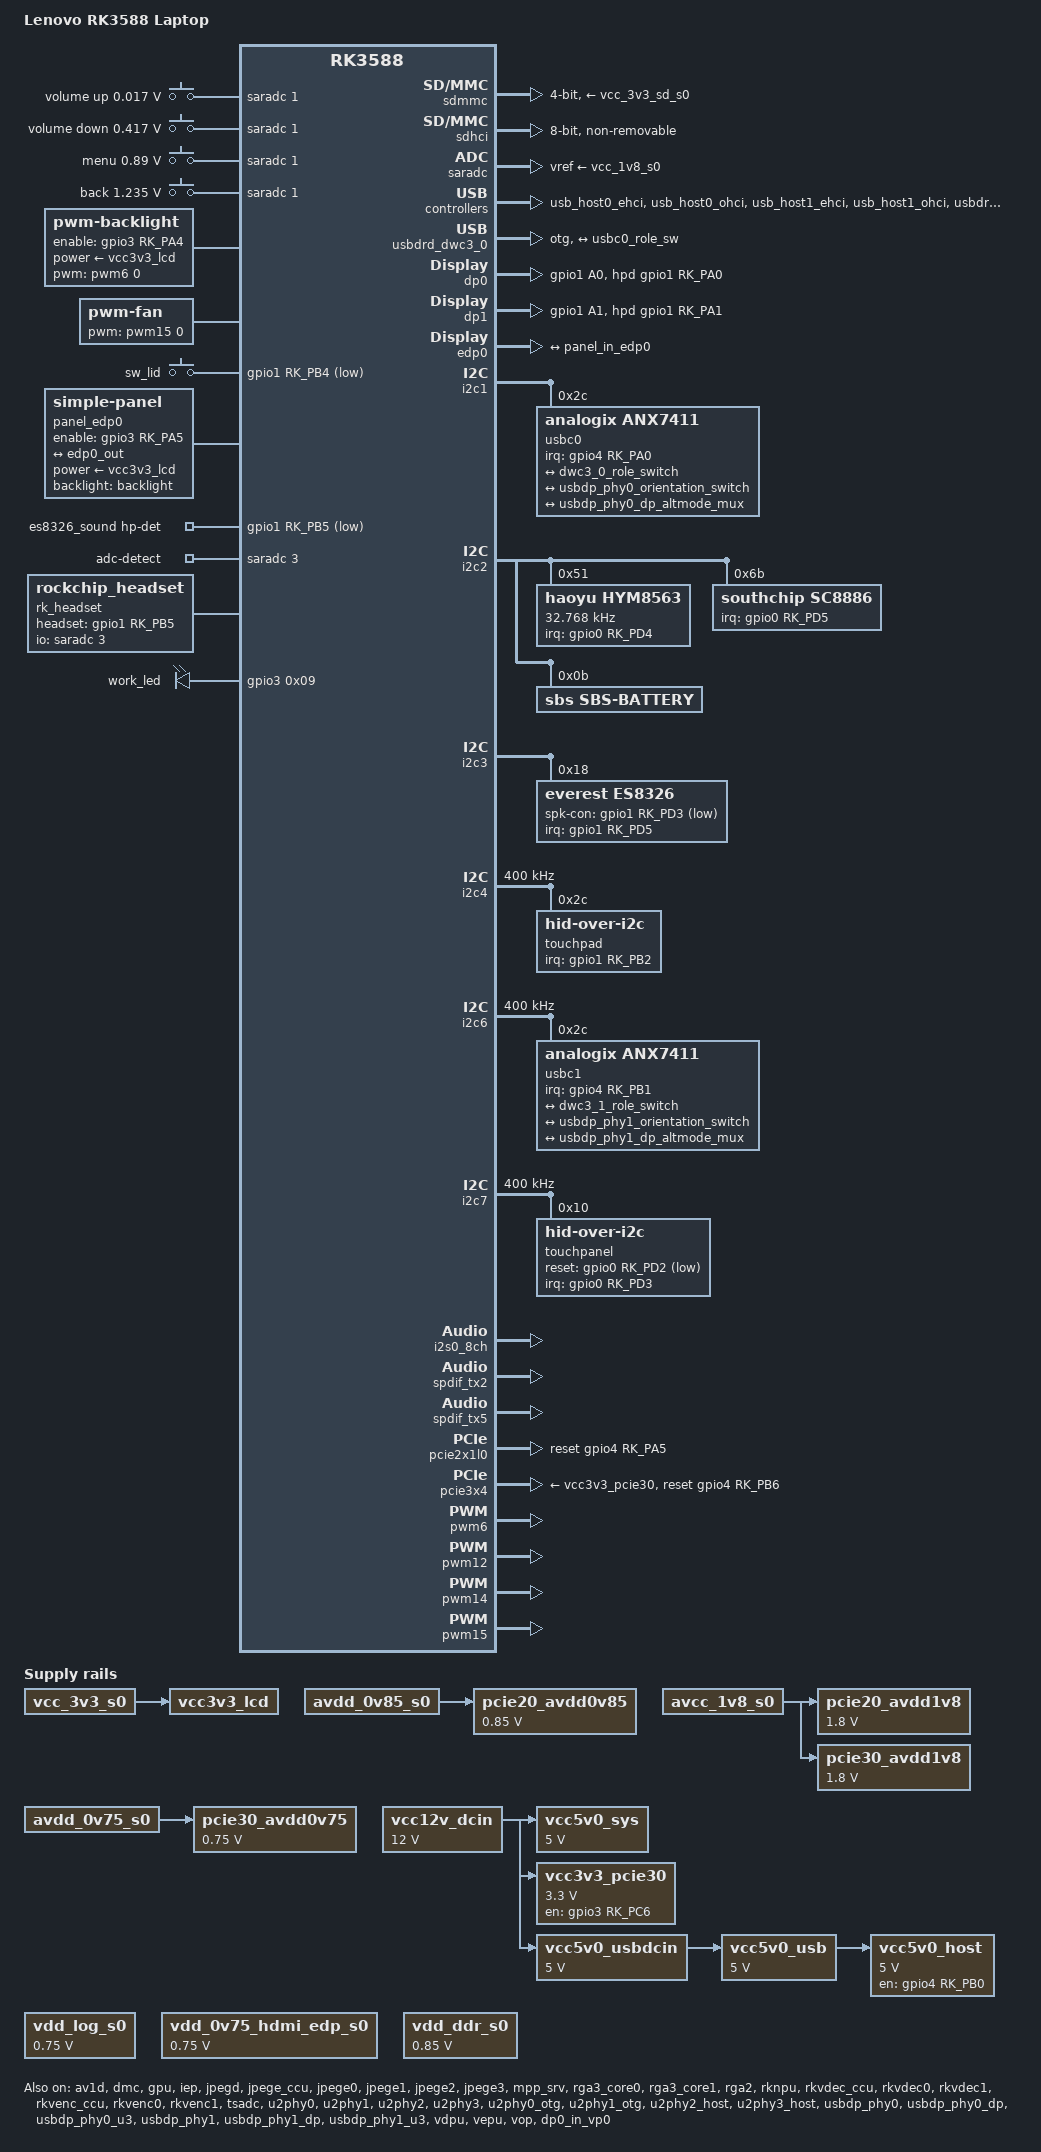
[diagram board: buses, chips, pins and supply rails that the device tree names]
/dts-v1/;

#include <dt-bindings/gpio/gpio.h>
#include <dt-bindings/pinctrl/rockchip.h>
#include <dt-bindings/input/rk-input.h>
#include <dt-bindings/input/gpio-keys.h>
#include <dt-bindings/display/rockchip_vop.h>
#include "dt-bindings/usb/pd.h"
#include "rk3588.dtsi"
#include "rk3588-rk806-dual.dtsi"
#include "rk3588-linux.dtsi"

/ {
	model = "Lenovo RK3588 Laptop";
	compatible = "rockchip,rk3588-lenovo", "rockchip,rk3588";

	aliases {
		mmc0 = &sdhci;
		mmc1 = &sdmmc;
		mmc2 = &sdio;
	};

	chosen {
		bootargs = "earlycon=uart8250,mmio32,0xfeb50000 console=ttyFIQ0 root=PARTUUID=614e0000-0000 rw rootwait wifibt=rtl8822ce:usb";
	};

	adc_keys: adc-keys {
		compatible = "adc-keys";
		io-channels = <&saradc 1>;
		io-channel-names = "buttons";
		keyup-threshold-microvolt = <1800000>;
		poll-interval = <100>;

		vol-up-key {
			label = "volume up";
			linux,code = <KEY_VOLUMEUP>;
			press-threshold-microvolt = <17000>;
		};

		vol-down-key {
			label = "volume down";
			linux,code = <KEY_VOLUMEDOWN>;
			press-threshold-microvolt = <417000>;
		};

		menu-key {
			label = "menu";
			linux,code = <KEY_MENU>;
			press-threshold-microvolt = <890000>;
		};

		back-key {
			label = "back";
			linux,code = <KEY_BACK>;
			press-threshold-microvolt = <1235000>;
		};
	};

	backlight: backlight {
		compatible = "pwm-backlight";
		brightness-levels = <
			  0  20  20  21  21  22  22  23
			 23  24  24  25  25  26  26  27
			 27  28  28  29  29  30  30  31
			 31  32  32  33  33  34  34  35
			 35  36  36  37  37  38  38  39
			 40  41  42  43  44  45  46  47
			 48  49  50  51  52  53  54  55
			 56  57  58  59  60  61  62  63
			 64  65  66  67  68  69  70  71
			 72  73  74  75  76  77  78  79
			 80  81  82  83  84  85  86  87
			 88  89  90  91  92  93  94  95
			 96  97  98  99 100 101 102 103
			104 105 106 107 108 109 110 111
			112 113 114 115 116 117 118 119
			120 121 122 123 124 125 126 127
			128 129 130 131 132 133 134 135
			136 137 138 139 140 141 142 143
			144 145 146 147 148 149 150 151
			152 153 154 155 156 157 158 159
			160 161 162 163 164 165 166 167
			168 169 170 171 172 173 174 175
			176 177 178 179 180 181 182 183
			184 185 186 187 188 189 190 191
			192 193 194 195 196 197 198 199
			200 201 202 203 204 205 206 207
			208 209 210 211 212 213 214 215
			216 217 218 219 220 221 222 223
			224 225 226 227 228 229 230 231
			232 233 234 235 236 237 238 239
			240 241 242 243 244 245 246 247
			248 249 250 251 252 253 254 255
		>;
		default-brightness-level = <200>;
		pwms = <&pwm15 0 25000 0>;
		enable-gpios = <&gpio3 RK_PA4 GPIO_ACTIVE_HIGH>;
		power-supply = <&vcc3v3_lcd>;
	};

	hdmi1_sound: hdmi1-sound {
		status = "disabled";
		compatible = "simple-audio-card";
		simple-audio-card,format = "i2s";
		simple-audio-card,mclk-fs = <128>;
		simple-audio-card,name = "rockchip-hdmi1";
		simple-audio-card,cpu {
			sound-dai = <&i2s6_8ch>;
		};
		simple-audio-card,codec {
			sound-dai = <&hdmi1>;
		};
	};

	fan: pwm-fan {
		compatible = "pwm-fan";
		cooling-min-state = <0>;
		cooling-max-state = <3>;
		#cooling-cells = <2>;
		pwms = <&pwm15 0 50000 0>;
		cooling-levels = <0 50 100 150 200 255>;
		rockchip,temp-trips = <
			50000	1
			55000	2
			60000	3
			65000	4
			70000	5
		>;
	};

	gpio_keys: gpio-keys {
		compatible = "gpio-keys";
		pinctrl-names = "default";
		pinctrl-0 = <&mh248_irq_gpio>;

		hall_sensor: hall-sensor {
			debounce-interval = <20>;
			gpios = <&gpio1 RK_PB4 GPIO_ACTIVE_LOW>;
			label = "sw_lid";
			linux,code = <SW_LID>;
			linux,input-type = <EV_SW>;
			wakeup-source;
			wakeup-event-action = <EV_ACT_DEASSERTED>;
		};
	};

	panel_edp0: panel-edp0 {
		compatible = "simple-panel";
		backlight = <&backlight>;
		enable-gpios = <&gpio3 RK_PA5 GPIO_ACTIVE_HIGH>;
		power-supply = <&vcc3v3_lcd>;

		prepare-delay-ms = <210>;
		enable-delay-ms = <50>;
		unprepare-delay-ms = <160>;
		disable-delay-ms = <120>;
		width-mm = <309>;
		height-mm = <174>;

		panel-timing {
			clock-frequency = <160300000>;
			hactive = <2240>;
			vactive = <1400>;
			hfront-porch = <48>;
			hsync-len = <32>;
			hback-porch = <200>;
			vfront-porch = <3>;
			vsync-len = <5>;
			vback-porch = <60>;
			hsync-active = <0>;
			vsync-active = <0>;
			de-active = <0>;
			pixelclk-active = <0>;
		};

		port {
			panel_in_edp0: endpoint {
				remote-endpoint = <&edp0_out>;
			};
		};
	};

	vcc3v3_lcd: vcc3v3-lcd {
		compatible = "regulator-fixed";
		regulator-name = "vcc3v3_lcd";
		vin-supply = <&vcc_3v3_s0>;
	};

	es8326_sound: es8326-sound {
		status = "okay";
		compatible = "rockchip,multicodecs-card";
		rockchip,card-name = "rockchip-es8326";
		rockchip,format = "i2s";
		rockchip,mclk-fs = <256>;
		rockchip,cpu = <&i2s0_8ch>;
		rockchip,codec = <&es8326>;
		poll-interval = <100>;
		io-channels = <&saradc 3>;
		io-channel-names = "adc-detect";
		keyup-threshold-microvolt = <1800000>;
		pinctrl-0 = <&hp_det>;
		pinctrl-names = "default";
		hp-det-gpio = <&gpio1 RK_PB5 GPIO_ACTIVE_LOW>;
		play-pause-key {
			label = "playpause";
			linux,code = <164>;
			press-threshold-microvolt = <2000>;
		};
	};

	rk_headset: rk-headset {
		compatible = "rockchip_headset";
		headset_gpio = <&gpio1 RK_PB5 GPIO_ACTIVE_HIGH>;
		pinctrl-names = "default";
		pinctrl-0 = <&hp_det>;
		io-channels = <&saradc 3>;
	};

	dp0_sound: dp0-sound {
		status = "disabled";
		compatible = "rockchip,hdmi";
		rockchip,card-name= "rockchip-dp0";
		rockchip,mclk-fs = <512>;
		rockchip,cpu = <&spdif_tx2>;
		rockchip,codec = <&dp0 1>;
		rockchip,jack-det;
	};

	dp1_sound: dp1-sound {
		status = "disabled";
		compatible = "rockchip,hdmi";
		rockchip,card-name= "rockchip-dp1";
		rockchip,mclk-fs = <512>;
		rockchip,cpu = <&spdif_tx5>;
		rockchip,codec = <&dp1 1>;
		rockchip,jack-det;
	};

	leds {
		compatible = "gpio-leds";
		work_led: work {
			gpios = <&gpio3 0x09 GPIO_ACTIVE_HIGH>;
			linux,default-trigger = "heartbeat";
		};
	};

	test-power {
		status = "okay";
	};

	vcc12v_dcin: vcc12v-dcin {
		compatible = "regulator-fixed";
		regulator-name = "vcc12v_dcin";
		regulator-always-on;
		regulator-boot-on;
		regulator-min-microvolt = <12000000>;
		regulator-max-microvolt = <12000000>;
	};

	vcc5v0_sys: vcc5v0-sys {
		compatible = "regulator-fixed";
		regulator-name = "vcc5v0_sys";
		regulator-always-on;
		regulator-boot-on;
		regulator-min-microvolt = <5000000>;
		regulator-max-microvolt = <5000000>;
		vin-supply = <&vcc12v_dcin>;
	};

	vcc3v3_pcie30: vcc3v3-pcie30 {
		compatible = "regulator-fixed";
		regulator-name = "vcc3v3_pcie30";
		regulator-min-microvolt = <3300000>;
		regulator-max-microvolt = <3300000>;
		enable-active-high;
		gpios = <&gpio3 RK_PC6 GPIO_ACTIVE_HIGH>;
		startup-delay-us = <5000>;
		vin-supply = <&vcc12v_dcin>;
	};

	vcc5v0_usbdcin: vcc5v0-usbdcin {
		compatible = "regulator-fixed";
		regulator-name = "vcc5v0_usbdcin";
		regulator-always-on;
		regulator-boot-on;
		regulator-min-microvolt = <5000000>;
		regulator-max-microvolt = <5000000>;
		vin-supply = <&vcc12v_dcin>;
	};

	vcc5v0_usb: vcc5v0-usb {
		compatible = "regulator-fixed";
		regulator-name = "vcc5v0_usb";
		regulator-always-on;
		regulator-boot-on;
		regulator-min-microvolt = <5000000>;
		regulator-max-microvolt = <5000000>;
		vin-supply = <&vcc5v0_usbdcin>;
	};

	pcie20_avdd0v85: pcie20-avdd0v85 {
		compatible = "regulator-fixed";
		regulator-name = "pcie20_avdd0v85";
		regulator-boot-on;
		regulator-always-on;
		regulator-min-microvolt = <850000>;
		regulator-max-microvolt = <850000>;
		vin-supply = <&avdd_0v85_s0>;
	};

	pcie20_avdd1v8: pcie20-avdd1v8 {
		compatible = "regulator-fixed";
		regulator-name = "pcie20_avdd1v8";
		regulator-boot-on;
		regulator-always-on;
		regulator-min-microvolt = <1800000>;
		regulator-max-microvolt = <1800000>;
		vin-supply = <&avcc_1v8_s0>;
	};

	pcie30_avdd0v75: pcie30-avdd0v75 {
		compatible = "regulator-fixed";
		regulator-name = "pcie30_avdd0v75";
		regulator-boot-on;
		regulator-always-on;
		regulator-min-microvolt = <750000>;
		regulator-max-microvolt = <750000>;
		vin-supply = <&avdd_0v75_s0>;
	};

	pcie30_avdd1v8: pcie30-avdd1v8 {
		compatible = "regulator-fixed";
		regulator-name = "pcie30_avdd1v8";
		regulator-boot-on;
		regulator-always-on;
		regulator-min-microvolt = <1800000>;
		regulator-max-microvolt = <1800000>;
		vin-supply = <&avcc_1v8_s0>;
	};

	vcc5v0_host: vcc5v0-host {
		compatible = "regulator-fixed";
		regulator-name = "vcc5v0_host";
		regulator-boot-on;
		regulator-always-on;
		regulator-min-microvolt = <5000000>;
		regulator-max-microvolt = <5000000>;
		enable-active-high;
		gpio = <&gpio4 RK_PB0 GPIO_ACTIVE_HIGH>;
		vin-supply = <&vcc5v0_usb>;
		pinctrl-names = "default";
		pinctrl-0 = <&vcc5v0_host_en>;
	};

};

&av1d {
	status = "okay";
};

&av1d_mmu {
	status = "okay";
};

&cpu_l0 {
	cpu-supply = <&vdd_cpu_lit_s0>;
	mem-supply = <&vdd_cpu_lit_mem_s0>;
};

&cpu_b0 {
	cpu-supply = <&vdd_cpu_big0_s0>;
	mem-supply = <&vdd_cpu_big0_mem_s0>;
};

&cpu_b2 {
	cpu-supply = <&vdd_cpu_big1_s0>;
	mem-supply = <&vdd_cpu_big1_mem_s0>;
};

&dmc {
	auto-freq-en = <1>;
	status = "okay";
};

&sdmmc {
	max-frequency = <150000000>;
	status = "okay";
	no-sdio;
	no-mmc;
	bus-width = <4>;
	cap-mmc-highspeed;
	cap-sd-highspeed;
	disable-wp;
	sd-uhs-sdr104;
	vmmc-supply = <&vcc_3v3_sd_s0>;
	vqmmc-supply = <&vccio_sd_s0>;
};

&sdhci {
	bus-width = <8>;
	no-sdio;
	no-sd;
	non-removable;
	max-frequency = <200000000>;
	status = "okay";
};

&gpu {
	clock-names = "gpu", "bus";
	interrupt-names = "gpu", "mmu", "job";
	mali-supply = <&vdd_gpu_s0>;
	mem-supply = <&vdd_gpu_mem_s0>;
	status = "okay";
};

&iep {
	status = "okay";
};

&iep_mmu {
	status = "okay";
};

&jpegd {
	status = "okay";
};

&jpegd_mmu {
	status = "okay";
};

&jpege_ccu {
	status = "okay";
};

&jpege0 {
	status = "okay";
};

&jpege0_mmu {
	status = "okay";
};

&jpege1 {
	status = "okay";
};

&jpege1_mmu {
	status = "okay";
};

&jpege2 {
	status = "okay";
};

&jpege2_mmu {
	status = "okay";
};

&jpege3 {
	status = "okay";
};

&jpege3_mmu {
	status = "okay";
};

&mpp_srv {
	status = "okay";
};

&rga3_core0 {
	status = "okay";
};

&rga3_0_mmu {
	status = "okay";
};

&rga3_core1 {
	status = "okay";
};

&rga3_1_mmu {
	status = "okay";
};

&rga2 {
	status = "okay";
};

&rknpu {
	rknpu-supply = <&vdd_npu_s0>;
	mem-supply = <&vdd_npu_mem_s0>;
	status = "okay";
};

&rknpu_mmu {
	status = "okay";
};

&rkvdec_ccu {
	status = "okay";
};

&rkvdec0 {
	status = "okay";
};

&rkvdec0_mmu {
	status = "okay";
};

&rkvdec1 {
	status = "okay";
};

&rkvdec1_mmu {
	status = "okay";
};

&rkvenc_ccu {
	status = "okay";
};

&rkvenc0 {
	status = "okay";
};

&rkvenc0_mmu {
	status = "okay";
};

&rkvenc1 {
	status = "okay";
};

&rkvenc1_mmu {
	status = "okay";
};

&rockchip_suspend {
	status = "okay";
	rockchip,sleep-debug-en = <1>;
};

&saradc {
	status = "okay";
	vref-supply = <&vcc_1v8_s0>;
};

&tsadc {
	status = "okay";
};

&u2phy0 {
	status = "okay";
};

&u2phy1 {
	status = "okay";
};

&u2phy2 {
	status = "okay";
};

&u2phy3 {
	status = "okay";
};

&u2phy0_otg {
	dr_mode = "otg";
	status = "okay";
};

&u2phy1_otg {
	status = "okay";
};

&u2phy2_host {
	status = "okay";
};

&u2phy3_host {
	status = "okay";
};

&usb_host0_ehci {
	status = "okay";
};

&usb_host0_ohci {
	status = "okay";
};

&usb_host1_ehci {
	status = "okay";
};

&usb_host1_ohci {
	status = "okay";
};

&usbdp_phy0 {
	orientation-switch;
	svid = <0xff01>;
	status = "okay";
	port {
		#address-cells = <1>;
		#size-cells = <0>;
		usbdp_phy0_orientation_switch: endpoint@0 {
			reg = <0>;
			remote-endpoint = <&usbc0_orien_sw>;
		};

		usbdp_phy0_dp_altmode_mux: endpoint@1 {
			reg = <1>;
			remote-endpoint = <&usbc0_dp_altmode_mux>;
		};
	};
};

&usbdp_phy0_dp {
	status = "okay";
};

&usbdp_phy0_u3 {
	status = "okay";
};

&usbdrd3_0 {
	status = "okay";
};

&usbdrd_dwc3_0 {
	dr_mode = "otg";
	status = "okay";
	usb-role-switch;
	port {
		#address-cells = <1>;
		#size-cells = <0>;
		dwc3_0_role_switch: endpoint@0 {
			reg = <0>;
			remote-endpoint = <&usbc0_role_sw>;
		};
	};
};

&usbhost3_0 {
	status = "okay";
};

&usbhost_dwc3_0 {
	status = "okay";
};

&usbdp_phy1 {
	orientation-switch;
	svid = <0xff01>;
	status = "okay";

	port {
		#address-cells = <1>;
		#size-cells = <0>;
		usbdp_phy1_orientation_switch: endpoint@0 {
			reg = <0>;
			remote-endpoint = <&usbc1_orien_sw>;
		};

		usbdp_phy1_dp_altmode_mux: endpoint@1 {
			reg = <1>;
			remote-endpoint = <&usbc1_dp_altmode_mux>;
		};

	};
};

&usbdp_phy1_dp {
	status = "okay";
};

&usbdp_phy1_u3 {
	status = "okay";
};

&usbdrd3_1 {
	status = "okay";
};

&usbdrd_dwc3_1 {
	dr_mode = "otg";
	status = "disabled";
	usb-role-switch;
	port {
		#address-cells = <1>;
		#size-cells = <0>;
		dwc3_1_role_switch: endpoint@0 {
			reg = <0>;
			remote-endpoint = <&usbc1_role_sw>;
		};
	};
};

&csi2_dphy0_hw {
	status = "disabled";
};

&csi2_dphy1_hw {
	status = "disabled";
};

&vdpu {
	status = "okay";
};

&vdpu_mmu {
	status = "okay";
};

&vepu {
	status = "okay";
};

&vop {
	status = "okay";
	disable-win-move;
};

&vop_mmu {
	status = "okay";
};

/*
#define	ROCKCHIP_VOP2_CLUSTER0	0
#define	ROCKCHIP_VOP2_CLUSTER1	1
#define	ROCKCHIP_VOP2_ESMART0	2
#define	ROCKCHIP_VOP2_ESMART1	3
#define	ROCKCHIP_VOP2_SMART0	4
#define	ROCKCHIP_VOP2_SMART1	5
#define	ROCKCHIP_VOP2_CLUSTER2	6
#define	ROCKCHIP_VOP2_CLUSTER3	7
#define	ROCKCHIP_VOP2_ESMART2	8
#define	ROCKCHIP_VOP2_ESMART3	9
 */

/* vp0 & vp1 splice for 8K output */
&vp0 {
	cursor-win-id = <ROCKCHIP_VOP2_ESMART1>;
	//rockchip,plane-mask = <0x0000000d>;
	rockchip,plane-mask = <(1 << ROCKCHIP_VOP2_CLUSTER0 | 1 << ROCKCHIP_VOP2_ESMART1)>;
	rockchip,primary-plane = <ROCKCHIP_VOP2_CLUSTER0>;
};

&vp1 {
	cursor-win-id = <ROCKCHIP_VOP2_ESMART2>;
	//rockchip,plane-mask = <0x00000142>;
	rockchip,plane-mask = <(1 << ROCKCHIP_VOP2_CLUSTER1 | 1 << ROCKCHIP_VOP2_ESMART2)>;
	rockchip,primary-plane = <ROCKCHIP_VOP2_CLUSTER1>;
};

&vp2 {
	cursor-win-id = <ROCKCHIP_VOP2_ESMART3>;
	// rockchip,plane-mask = <0x00000280>;
	rockchip,plane-mask = <(1 << ROCKCHIP_VOP2_CLUSTER3 | 1 << ROCKCHIP_VOP2_ESMART3)>;
	rockchip,primary-plane = <ROCKCHIP_VOP2_CLUSTER3>;
};
&vdd_gpu_s0 {
	regulator-always-on;
};

&vdd_log_s0 {
	regulator-min-microvolt = <750000>;
};

&vdd_gpu_mem_s0 {
	regulator-always-on;
};

&vdd_0v75_hdmi_edp_s0 {
	regulator-min-microvolt = <750000>;
	regulator-max-microvolt = <750000>;
};

&vcc_1v8_s0 {
	/delete-property/ regulator-state-mem;
	regulator-state-mem {
		regulator-on-in-suspend;
		regulator-suspend-microvolt = <1800000>;
	};
};

&vcc_3v3_s0 {
	/delete-property/ regulator-state-mem;
	regulator-state-mem {
		regulator-on-in-suspend;
		regulator-suspend-microvolt = <3300000>;
	};
};

&vdd_ddr_s0 {
	regulator-min-microvolt = <850000>;
	regulator-max-microvolt = <850000>;
};

&backlight {
	pwms = <&pwm6 0 100000 0>;
	pinctrl-names = "default";
	pinctrl-0 = <&bl_en>;
	status = "okay";
};

&hdmi0 {
	status = "disabled";
};

&hdmi1 {
	status = "disabled";
};

&dp0 {
	status = "okay";
	pinctrl-names = "default";
	pinctrl-0 = <&dp0_hpd>;
	hpd-gpios = <&gpio1 RK_PA0 GPIO_ACTIVE_HIGH>;
};

&dp0_in_vp0 {
	status = "okay";
};

&dp0_sound{
	status = "okay";
};

&route_dp0 {
	status = "okay";
	connect = <&vp2_out_dp0>;
};

&dp1 {
	status = "okay";
	pinctrl-names = "default";
	pinctrl-0 = <&dp1_hpd>;
	hpd-gpios = <&gpio1 RK_PA1 GPIO_ACTIVE_HIGH>;
};

&dp1_in_vp2 {
	status = "okay";
};

&dp1_sound{
	status = "okay";
};

&route_dp1 {
	status = "okay";
	connect = <&vp2_out_dp1>;
};

&edp0 {
	force-hpd;
	status = "okay";
	ports {
		port@1 {
			reg = <1>;
			edp0_out: endpoint {
				remote-endpoint = <&panel_in_edp0>;
			};
		};
	};
};

&edp0_in_vp1 {
	status = "okay";
};

&route_edp0 {
	status = "okay";
	connect = <&vp1_out_edp0>;
};

&edp1 {
	status = "disabled";
};

&mipidcphy0 {
	status = "disabled";
};

&mipidcphy1 {
	status = "disabled";
};

&u2phy2 {
	status = "okay";
	host-port {
		phy-supply = <&vcc5v0_host>;
	};
};

&u2phy3 {
	status = "okay";
	host-port {
		phy-supply = <&vcc5v0_host>;
	};
};

&hdptxphy0 {
	status = "okay";
	lane-polarity-invert = <0 0 0 0>;
};


&i2c1 {
	pinctrl-names = "default";
	pinctrl-0 = <&i2c1m0_xfer>;
	status = "okay";

	usbc0: anx7411@2c {
		status = "okay";
		compatible = "analogix,anx7411";
		reg = <0x2c>;
		#address-cells = <1>;
		#size-cells = <0>;
		interrupt-parent = <&gpio4>;
		interrupts = <RK_PA0 IRQ_TYPE_LEVEL_LOW>;
		extcon = <&u2phy0>;
		pinctrl-names = "default";
		pinctrl-0 = <&usbc0_int>;

		port {
			#address-cells = <1>;
			#size-cells = <0>;

			usbc0_role_sw: endpoint@0 {
				reg = <0>;
				remote-endpoint = <&dwc3_0_role_switch>;
			};
		};

		usb_con: connector {
			compatible = "usb-c-connector";
			label = "USB-C";
			data-role = "dual";
			power-role = "dual";
			try-power-role = "sink";

			altmodes {
				#address-cells = <1>;
				#size-cells = <0>;

				altmode@0 {
					reg = <0>;
					svid = <0xff01>;
					vdo = <0xffffffff>;
				};
			};

			ports {
				#address-cells = <1>;
				#size-cells = <0>;

				port@0 {
					reg = <0>;
					usbc0_orien_sw: endpoint {
						remote-endpoint = <&usbdp_phy0_orientation_switch>;
					};
				};

				port@1 {
					reg = <1>;
					usbc0_dp_altmode_mux: endpoint {
						remote-endpoint = <&usbdp_phy0_dp_altmode_mux>;
					};
				};
			};
		};
	};
};

&i2c2 {
	status = "okay";

	hym8563: hym8563@51 {
		compatible = "haoyu,hym8563";
		reg = <0x51>;
		#clock-cells = <0>;
		clock-frequency = <32768>;
		clock-output-names = "hym8563";
		pinctrl-names = "default";
		pinctrl-0 = <&hym8563_int>;
		interrupt-parent = <&gpio0>;
		interrupts = <RK_PD4 IRQ_TYPE_LEVEL_LOW>;
	};

	sc8886: sc8886@6b {
		compatible = "southchip,sc8886";
		reg = <0x6b>;
		ti,usb-charger-detection = <&usbc0 &usbc1>;
		interrupt-parent = <&gpio0>;
		interrupts = <RK_PD5 IRQ_TYPE_LEVEL_LOW>;
		pinctrl-names = "default";
		pinctrl-0 = <&charger_ok>;
		extcon = <&u2phy0 &u2phy3>;
		ti,charge-current = <2500000>;
		ti,max-input-voltage = <20000000>;
		ti,max-input-current = <6000000>;
		ti,max-charge-voltage = <16800000>;
		ti,input-current = <500000>;
		ti,input-current-sdp = <500000>;
		ti,input-current-dcp = <2000000>;
		ti,input-current-cdp = <2000000>;
		ti,minimum-sys-voltage = <7400000>;
		ti,otg-voltage = <5000000>;
		ti,otg-current = <500000>;
		pd-charge-only = <0>;
		status = "okay";
	};

	sbs: sbs@b {
		status = "okay";
		compatible = "sbs,sbs-battery";
		reg = <0xb>;
		pinctrl-names = "default";
		pinctrl-0 = <&sbs_detect>;
		sbs,poll-retry-count = <100>;
		sbs,i2c-retry-count = <100>;
	};
};

&i2c3 {
	status = "okay";

	es8326: es8326@18 {
		status = "okay";
		compatible = "everest,es8326";
		reg = <0x18>;
		#sound-dai-cells = <0>;
		clocks = <&cru I2S0_8CH_MCLKOUT>;
		clock-names = "mclk";
		assigned-clocks = <&cru I2S0_8CH_MCLKOUT>;
		assigned-clock-rates = <12288000>;
		pinctrl-names = "default";
		pinctrl-0 = <&i2s0_mclk &hp_det &spk_ctl_gpio>;
		interrupt-parent = <&gpio1>;
		interrupts = <RK_PD5 IRQ_TYPE_EDGE_RISING>;
		mclk-rate = <12288000>;
		mic1-src = [22];
		mic2-src = [44];
		jack-pol = [0e];
		spk-con-gpio = <&gpio1 RK_PD3 GPIO_ACTIVE_LOW>;
	};
};

&i2c4 {
	status = "okay";
	pinctrl-names = "default";
	pinctrl-0 = <&i2c4m3_xfer>;
	clock-frequency = <400000>;

	touchpad: touchpad@2c {
		compatible = "hid-over-i2c";
		reg = <0x2c>;
		hid-descr-addr = <0x20>;
		interrupt-parent = <&gpio1>;
		interrupts = <RK_PB2 IRQ_TYPE_LEVEL_LOW>;
		pinctrl-names = "default";
		pinctrl-0 = <&touchpad_irq_gpio >;
		status = "okay";
	};
};

&i2c6 {
	status = "okay";
	clock-frequency = <400000>;

	usbc1: anx7411@2c {
		status = "okay";
		compatible = "analogix,anx7411";
		reg = <0x2c>;
		#address-cells = <1>;
		#size-cells = <0>;
		interrupt-parent = <&gpio4>;
		interrupts = <RK_PB1 IRQ_TYPE_LEVEL_LOW>;
		extcon = <&u2phy3>;
		pinctrl-names = "default";
		pinctrl-0 = <&usbc1_int>;

		port {
			#address-cells = <1>;
			#size-cells = <0>;

			usbc1_role_sw: endpoint@0 {
				reg = <0>;
				remote-endpoint = <&dwc3_1_role_switch>;
			};
		};
		usb_con1: connector@0 {
			compatible = "usb-c-connector";
			reg = <0>;
			power-role = "dual";
			data-role = "dual";
			try-power-role = "sink";

			altmodes {
				#address-cells = <1>;
				#size-cells = <0>;

				altmode@0 {
					reg = <0>;
					svid = <0xff01>;
					vdo = <0xffffffff>;
				};
			};

			ports {
				#address-cells = <1>;
				#size-cells = <0>;

				port@0 {
					reg = <0>;
					usbc1_orien_sw: endpoint {
						remote-endpoint = <&usbdp_phy1_orientation_switch>;
					};
				};

				port@1 {
					reg = <1>;
					usbc1_dp_altmode_mux: endpoint {
						remote-endpoint = <&usbdp_phy1_dp_altmode_mux>;
					};
				};
			};
		};
	};
};

&i2c7 {
	status = "okay";
	pinctrl-names = "default";
	pinctrl-0 = <&i2c7m0_xfer>;
	clock-frequency = <400000>;

	touchpanel: touchpanel@10 {
		compatible = "hid-over-i2c";
		reg = <0x10>;
		hid-descr-addr = <0x10>;
		interrupt-parent = <&gpio0>;
		interrupts = <RK_PD3 IRQ_TYPE_LEVEL_LOW>;
		pinctrl-names = "default";
		pinctrl-0 = <&touchpanel_pwr_en>;
		reset-gpios = <&gpio0 RK_PD2 GPIO_ACTIVE_LOW>;
		status = "okay";
	};
};

&i2s0_8ch {
	status = "okay";
};

//spdif_tx2: spdif-tx@fddb0000
&spdif_tx2 {
	status = "okay";
};

//spdif_tx5: spdif-tx@fddb8000
&spdif_tx5 {
	status = "okay";
};

&pcie30phy {
	rockchip,pcie30-phymode = <PHY_MODE_PCIE_AGGREGATION>;
	status = "okay";
};

&combphy0_ps {
	status = "okay";
};

&combphy1_ps {
    status = "okay";
};

&combphy2_psu {
	status = "okay";
};

//wifi
&pcie2x1l0 {
	status = "okay";
	reset-gpios = <&gpio4 RK_PA5 GPIO_ACTIVE_HIGH>;
};

//ssd
&pcie3x4 {
	reset-gpios = <&gpio4 RK_PB6 GPIO_ACTIVE_HIGH>;
	vpcie3v3-supply = <&vcc3v3_pcie30>;
	status = "okay";
};

&pwm6 {
	pinctrl-names = "active";
	pinctrl-0 = <&pwm6m1_pins>;
	status = "okay";
};

&pwm12 {
	pinctrl-names = "active";
	pinctrl-0 = <&pwm12m1_pins>;
	status = "okay";
};

&pwm14 {
	pinctrl-names = "active";
	pinctrl-0 = <&pwm14m0_pins>;
	status = "okay";
};

&pwm15 {
	pinctrl-names = "active";
	pinctrl-0 = <&pwm15m3_pins>;
	status = "okay";
};

&display_subsystem {
	memory-region = <&drm_logo>;
	memory-region-names = "drm-logo";
};

&rng {
	status = "okay";
};

&pinctrl {
	hym8563 {
		hym8563_int: hym8563-int {
			rockchip,pins = <0 RK_PD4 RK_FUNC_GPIO &pcfg_pull_up>;
		};
	};

	sc8886 {
		charger_ok: charger-ok {
			rockchip,pins = <0 RK_PC4 RK_FUNC_GPIO &pcfg_pull_up>;
			phandle = <0x00000125>;
		};
	};

	sbs {
		sbs_detect: sbs-detect {
			rockchip,pins = <1 RK_PB0 RK_FUNC_GPIO &pcfg_pull_none>;
		};
	};

	spk_ctl {
		spk_ctl_gpio: spk-ctl-gpio {
			rockchip,pins = <1 RK_PD3 RK_FUNC_GPIO &pcfg_pull_none>;
		};
	};

	touchpad {
		touchpad_irq_gpio: touchpad_irq_gpio {
			rockchip,pins = <1 RK_PB2 RK_FUNC_GPIO &pcfg_pull_up>;
		};
	};

	headphone {
		hp_det: hp-det {
			rockchip,pins = <1 RK_PB5 RK_FUNC_GPIO &pcfg_pull_up>;
		};
	};

	usb {
		vcc5v0_host_en: vcc5v0-host-en {
			rockchip,pins = 
				<4 RK_PB0 RK_FUNC_GPIO &pcfg_pull_none>,
				<3 RK_PB1 RK_FUNC_GPIO &pcfg_output_high>;
		};
	};

	usb-typec {
		usbc0_int: usbc0-int {
			rockchip,pins = <4 RK_PB1 RK_FUNC_GPIO &pcfg_pull_up>;
		};
		usbc1_int: usbc1-int {
			rockchip,pins = <4 RK_PB7 RK_FUNC_GPIO &pcfg_pull_up>;
		};
		typec5v_pwren: typec5v-pwren {
			rockchip,pins = <3 RK_PB0 RK_FUNC_GPIO &pcfg_pull_none>;
		};
	};

	wifi {
		pcie_rst: pcie-rst {
			rockchip,pins = <4 RK_PA2 RK_FUNC_GPIO &pcfg_pull_up>;
		};

		pcie_clkreq: pcie-clkreq {
			rockchip,pins = <4 RK_PA0 RK_FUNC_GPIO &pcfg_pull_up>;
		};

		pcie_wake: pcie-wake {
			rockchip,pins = <4 RK_PA1 RK_FUNC_GPIO &pcfg_pull_up>;
		};

		wifi_pwron: wifi-pwron {
			rockchip,pins = <3 RK_PB1 RK_FUNC_GPIO &pcfg_pull_up>;
		};
	};

	lcd {
		bl_en: bl-en {
			rockchip,pins = <3 RK_PA5 RK_FUNC_GPIO &pcfg_pull_none>;
		};
	};

	sensor {
		mh248_irq_gpio: mh248-irq-gpio {
			rockchip,pins = <1 RK_PB4 RK_FUNC_GPIO &pcfg_pull_up>;
		};
	};

	touch {
		touchpanel_pwr_en: touchpanel_pwr_en {
			rockchip,pins = <3 RK_PD4 RK_FUNC_GPIO &pcfg_output_high>;
		};
	};

	dp {
		dp0_hpd: dp0-hpd {
			rockchip,pins = <1 RK_PA0 RK_FUNC_GPIO &pcfg_pull_none>;
		};
		dp1_hpd: dp1-hpd {
			rockchip,pins = <1 RK_PA1 RK_FUNC_GPIO &pcfg_pull_none>;
		};
	};
};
